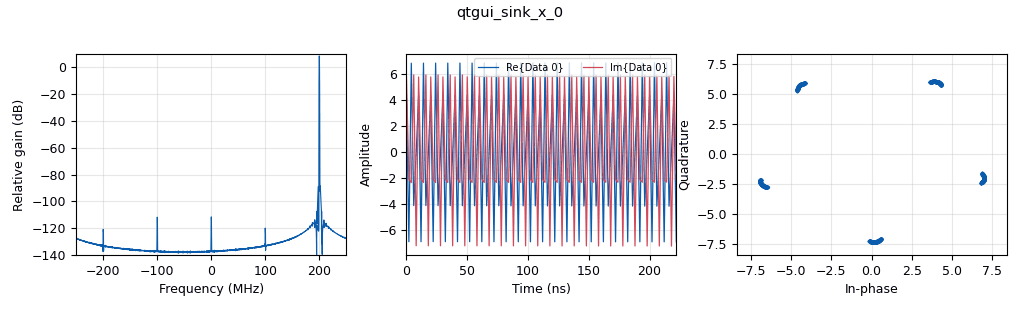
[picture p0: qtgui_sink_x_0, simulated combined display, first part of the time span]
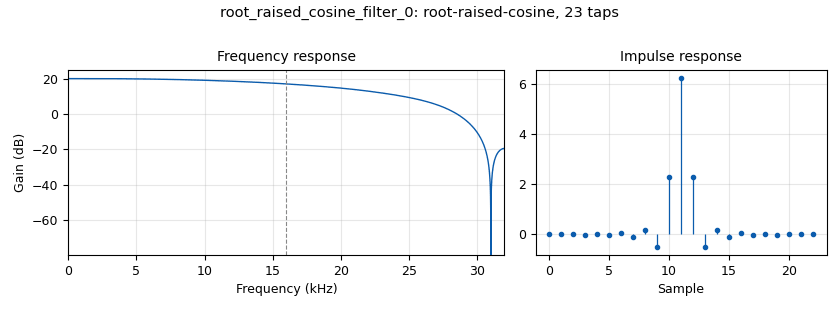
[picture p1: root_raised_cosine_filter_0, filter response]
options:
  parameters:
    author: pranav
    generate_options: qt_gui
    id: test_datagen_qpsk
    output_language: python
    title: Not titled yet
  states: {}

blocks:
- name: doppler_shift
  id: variable
  parameters:
    value: '4157'
  states: {}
- name: quad_rate
  id: variable
  parameters:
    value: 500e6
  states: {}
- name: samp_rate
  id: variable
  parameters:
    value: sps*symb_rate
  states: {}
- name: sps
  id: variable
  parameters:
    value: '2'
  states: {}
- name: symb_rate
  id: variable
  parameters:
    value: 32e3
  states: {}
- name: analog_random_source_x_0
  id: analog_random_source_x
  parameters:
    max: '2'
    min: '0'
    num_samps: '1000'
    repeat: 'True'
    type: byte
  states: {}
- name: analog_sig_source_x_0
  id: analog_sig_source_x
  parameters:
    amp: '1'
    freq: 200e6
    offset: '0'
    phase: '0'
    samp_rate: quad_rate
    type: complex
    waveform: analog.GR_COS_WAVE
  states: {}
- name: blocks_file_sink_0
  id: blocks_file_sink
  parameters:
    file: bpsk_test.dat
    type: complex
  states: {}
- name: blocks_multiply_xx_0
  id: blocks_multiply_xx
  parameters:
    type: complex
  states: {}
- name: blocks_throttle_0
  id: blocks_throttle
  parameters:
    samples_per_second: quad_rate
    type: complex
  states: {}
- name: channels_channel_model_0
  id: channels_channel_model
  parameters:
    epsilon: '1.0'
    freq_offset: doppler_shift/quad_rate
    noise_voltage: '0.0'
    seed: '0'
    taps: '1.0 '
  states: {}
- name: digital_chunks_to_symbols_xx_0
  id: digital_chunks_to_symbols_xx
  parameters:
    dimension: '1'
    in_type: byte
    out_type: complex
    symbol_table: '[-1,1]'
  states: {}
- name: qtgui_sink_x_0
  id: qtgui_sink_x
  parameters:
    bw: quad_rate
    fc: '0'
    fftsize: '2048'
    type: complex
    wintype: firdes.WIN_BLACKMAN_hARRIS
  states: {}
- name: rational_resampler_xxx_0
  id: rational_resampler_xxx
  parameters:
    decim: '1'
    interp: sps
    taps: '1'
    type: ccc
  states: {}
- name: rational_resampler_xxx_1
  id: rational_resampler_xxx
  parameters:
    decim: int(samp_rate)
    fbw: '0.4'
    interp: int(quad_rate)
    taps: ''
    type: ccc
  states: {}
- name: root_raised_cosine_filter_0
  id: root_raised_cosine_filter
  parameters:
    alpha: '0.9'
    decim: '1'
    gain: '10'
    ntaps: 11*sps
    samp_rate: samp_rate
    sym_rate: symb_rate
    type: fir_filter_ccf
  states: {}

connections:
- [analog_random_source_x_0, '0', digital_chunks_to_symbols_xx_0, '0']
- [analog_sig_source_x_0, '0', blocks_throttle_0, '0']
- [blocks_multiply_xx_0, '0', channels_channel_model_0, '0']
- [blocks_throttle_0, '0', blocks_multiply_xx_0, '1']
- [channels_channel_model_0, '0', blocks_file_sink_0, '0']
- [channels_channel_model_0, '0', qtgui_sink_x_0, '0']
- [digital_chunks_to_symbols_xx_0, '0', rational_resampler_xxx_0, '0']
- [rational_resampler_xxx_0, '0', root_raised_cosine_filter_0, '0']
- [rational_resampler_xxx_1, '0', blocks_multiply_xx_0, '0']
- [root_raised_cosine_filter_0, '0', rational_resampler_xxx_1, '0']

metadata:
  file_format: 1
